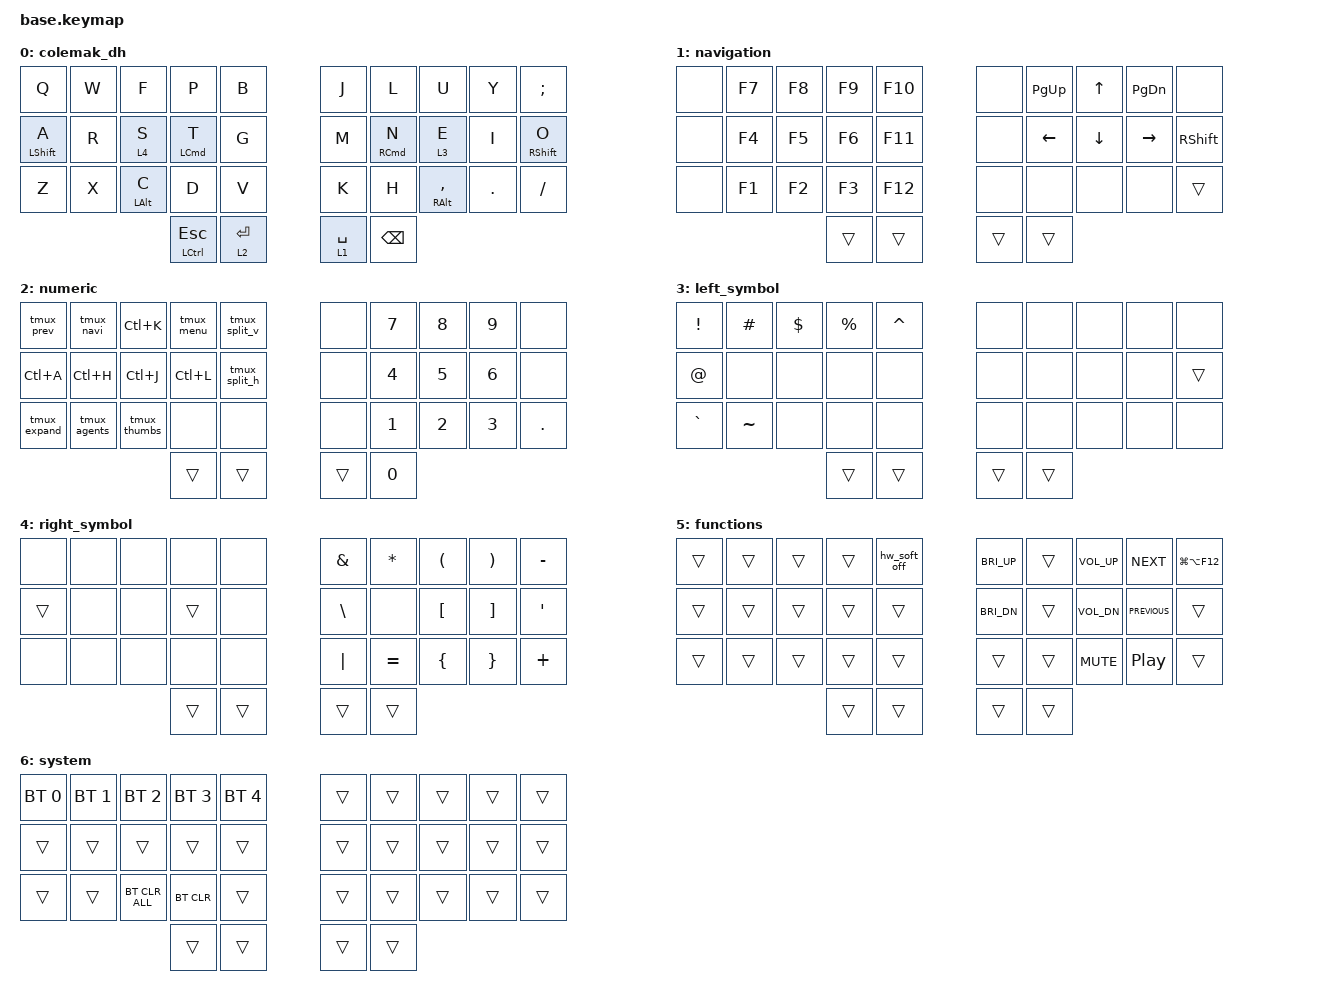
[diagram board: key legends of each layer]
#include <behaviors.dtsi>
#include <dt-bindings/zmk/bt.h>
#include <dt-bindings/zmk/keys.h>

#include "includes/settings.dtsi"
#include "includes/behaviours_homerow_mods.dtsi"
#include "includes/behaviours.dtsi"
#include "includes/combos.dtsi"
#include "includes/macros.dtsi"
#include "includes/softoff.dtsi"

/ {
    keymap {
        compatible = "zmk,keymap";

        colemak_dh {
            bindings = <
     // ╭───────────────────┬────────────────────┬────────────────────┬────────────────────┬────────────────────╮   ╭────────────────────┬────────────────────┬────────────────────┬────────────────────┬────────────────────╮
         &kp Q               &kp W                &kp F                &kp P                &kp B                    &kp J                &kp L                &kp U                &kp Y                &kp SEMICOLON
     // ├───────────────────┼────────────────────┼────────────────────┼────────────────────┼────────────────────┤   ├────────────────────┼────────────────────┼────────────────────┼────────────────────┼────────────────────┤
         &hm_s_l LSHIFT A    &kp R                &hm_l_l 4 S          &hm LCMD T           &kp G                    &kp M                &hm RCMD N           &hm_l_r 3 E          &kp I                &hm_s_r RSHIFT O
     // ├───────────────────┼────────────────────┼────────────────────┼────────────────────┼────────────────────┤   ├────────────────────┼────────────────────┼────────────────────┼────────────────────┼────────────────────┤
         &kp Z               &kp X                &hm_s_l LALT C       &kp D                &kp V                    &kp K                &kp H                &hm_s_r RALT COMMA   &kp DOT              &kp SLASH
     // ╰─────────────────────────────────────────────────────────────┼────────────────────┼────────────────────┤   ├────────────────────┼────────────────────┼──────────────────────────────────────────────────────────────╯
                                                                         &hm LCTRL ESCAPE     &hm_layer 2 ENTER        &hm_layer 1 SPACE    &kp BACKSPACE
     //                                                                 ╰────────────────────┴────────────────────╯   ╰────────────────────┴────────────────────╯
            >;
        };

        navigation {
            bindings = <
     // ╭─────────────┬─────────────┬─────────────┬─────────────┬─────────────╮   ╭─────────────┬─────────────┬─────────────┬─────────────┬─────────────╮
         &none         &kp F7        &kp F8        &kp F9        &kp F10           &none         &kp PAGE_UP   &kp UP_ARROW  &kp PAGE_DOWN &none
     // ├─────────────┼─────────────┼─────────────┼─────────────┼─────────────┤   ├─────────────┼─────────────┼─────────────┼─────────────┼─────────────┤
         &none         &kp F4        &kp F5        &kp F6        &kp F11           &none         &kp LEFT      &kp DOWN      &kp RIGHT     &kp RIGHT_SHIFT
     // ├─────────────┼─────────────┼─────────────┼─────────────┼─────────────┤   ├─────────────┼─────────────┼─────────────┼─────────────┼─────────────┤
         &none         &kp F1        &kp F2        &kp F3        &kp F12           &none         &none         &none         &none         &trans
     // ╰─────────────────────────────────────────┼─────────────┼─────────────┤   ├─────────────┼─────────────┼─────────────────────────────────────────╯
                                                   &trans        &trans            &trans        &trans
     //                                           ╰─────────────┴─────────────╯   ╰─────────────┴─────────────╯
            >;
        };

        numeric {
            bindings = <
     // ╭─────────────┬─────────────┬─────────────┬─────────────┬─────────────╮   ╭─────────────┬─────────────┬─────────────┬─────────────┬─────────────╮
         &tmux_prev    &tmux_navi    &kp LC(K)     &tmux_menu    &tmux_split_v     &none         &kp N7        &kp N8        &kp N9        &none
     // ├─────────────┼─────────────┼─────────────┼─────────────┼─────────────┤   ├─────────────┼─────────────┼─────────────┼─────────────┼─────────────┤
         &kp LC(A)     &kp LC(H)     &kp LC(J)     &kp LC(L)     &tmux_split_h     &none         &kp N4        &kp N5        &kp N6        &none
     // ├─────────────┼─────────────┼─────────────┼─────────────┼─────────────┤   ├─────────────┼─────────────┼─────────────┼─────────────┼─────────────┤
         &tmux_expand  &tmux_agents  &tmux_thumbs  &none         &none             &none         &kp N1        &kp N2        &kp N3        &kp DOT
     // ╰─────────────────────────────────────────┼─────────────┼─────────────┤   ├─────────────┼─────────────┼─────────────────────────────────────────╯
                                                   &trans        &trans            &trans        &kp NUMBER_0
     //                                           ╰─────────────┴─────────────╯   ╰─────────────┴─────────────╯
            >;
        };

        left_symbol {
            bindings = <
     // ╭─────────────┬─────────────┬─────────────┬─────────────┬─────────────╮   ╭─────────────┬─────────────┬─────────────┬─────────────┬─────────────╮
         &kp EXCLAMATION   &kp HASH  &kp DOLLAR    &kp PERCENT   &kp CARET         &none         &none         &none         &none         &none
     // ├─────────────┼─────────────┼─────────────┼─────────────┼─────────────┤   ├─────────────┼─────────────┼─────────────┼─────────────┼─────────────┤
         &kp AT_SIGN   &none         &none         &none         &none             &none         &none         &none         &none         &trans
     // ├─────────────┼─────────────┼─────────────┼─────────────┼─────────────┤   ├─────────────┼─────────────┼─────────────┼─────────────┼─────────────┤
         &kp GRAVE     &kp TILDE     &none         &none         &none             &none         &none         &none         &none         &none
     // ╰─────────────────────────────────────────┼─────────────┼─────────────┤   ├─────────────┼─────────────┼─────────────────────────────────────────╯
                                                   &trans        &trans            &trans        &trans
     //                                            ╰─────────────┴─────────────╯   ╰─────────────┴─────────────╯
            >;
        };

        right_symbol {
            bindings = <
     // ╭─────────────┬─────────────┬─────────────┬─────────────┬─────────────╮   ╭─────────────┬─────────────┬─────────────┬─────────────┬─────────────╮
         &none         &none         &none         &none         &none             &kp AMPERSAND &kp ASTERISK  &kp LPAR      &kp RPAR      &kp MINUS
     // ├─────────────┼─────────────┼─────────────┼─────────────┼─────────────┤   ├─────────────┼─────────────┼─────────────┼─────────────┼─────────────┤
         &trans        &none         &none         &trans        &none             &kp BACKSLASH &none         &kp LBKT      &kp RBKT      &kp SQT
     // ├─────────────┼─────────────┼─────────────┼─────────────┼─────────────┤   ├─────────────┼─────────────┼─────────────┼─────────────┼─────────────┤
         &none         &none         &none         &none         &none             &kp PIPE      &kp EQUAL     &kp LBRC      &kp RBRC      &kp PLUS
     // ╰─────────────────────────────────────────┼─────────────┼─────────────┤   ├─────────────┼─────────────┼─────────────────────────────────────────╯
                                                   &trans        &trans            &trans        &trans
     //                                           ╰─────────────┴─────────────╯   ╰─────────────┴─────────────╯
            >;
        };

        functions {
            bindings = <
     // ╭─────────────┬─────────────┬─────────────┬─────────────┬─────────────╮   ╭─────────────┬─────────────┬─────────────┬─────────────┬─────────────╮
         &trans        &trans        &trans        &trans        &hw_soft_off      &kp C_BRI_UP  &trans        &kp C_VOL_UP  &kp C_NEXT    &kp LG(LA(F12))
     // ├─────────────┼─────────────┼─────────────┼─────────────┼─────────────┤   ├─────────────┼─────────────┼─────────────┼─────────────┼─────────────┤
         &trans        &trans        &trans        &trans        &trans            &kp C_BRI_DN  &trans        &kp C_VOL_DN  &kp C_PREVIOUS    &trans
     // ├─────────────┼─────────────┼─────────────┼─────────────┼─────────────┤   ├─────────────┼─────────────┼─────────────┼─────────────┼─────────────┤
         &trans        &trans        &trans        &trans        &trans            &trans        &trans        &kp C_MUTE    &kp C_PLAY_PAUSE  &trans
     // ╰─────────────────────────────────────────┼─────────────┼─────────────┤   ├─────────────┼─────────────┼─────────────────────────────────────────╯
                                                   &trans        &trans            &trans        &trans
     //                                           ╰─────────────┴─────────────╯   ╰─────────────┴─────────────╯
            >;
        };

        system {
            bindings = <
     // ╭─────────────┬─────────────┬─────────────┬─────────────┬─────────────╮   ╭─────────────┬─────────────┬─────────────┬─────────────┬─────────────╮
         &bt BT_SEL 0  &bt BT_SEL 1  &bt BT_SEL 2  &bt BT_SEL 3  &bt BT_SEL 4      &trans        &trans        &trans        &trans        &trans
     // ├─────────────┼─────────────┼─────────────┼─────────────┼─────────────┤   ├─────────────┼─────────────┼─────────────┼─────────────┼─────────────┤
         &trans        &trans        &trans        &trans        &trans            &trans        &trans        &trans        &trans        &trans
     // ├─────────────┼─────────────┼─────────────┼─────────────┼─────────────┤   ├─────────────┼─────────────┼─────────────┼─────────────┼─────────────┤
         &trans        &trans        &bt BT_CLR_ALL  &bt BT_CLR  &trans            &trans        &trans        &trans        &trans        &trans
     // ╰─────────────────────────────────────────┼─────────────┼─────────────┤   ├─────────────┼─────────────┼─────────────────────────────────────────╯
                                                   &trans        &trans            &trans        &trans
     //                                           ╰─────────────┴─────────────╯   ╰─────────────┴─────────────╯
            >;
        };
    };

    conditional_layers {
        compatible = "zmk,conditional-layers";

        function_layer {
            if-layers = <1 2>;
            then-layer = <5>;
        };

        system_layer {
            if-layers = <2 4>;
            then-layer = <6>;
        };
    };
};

